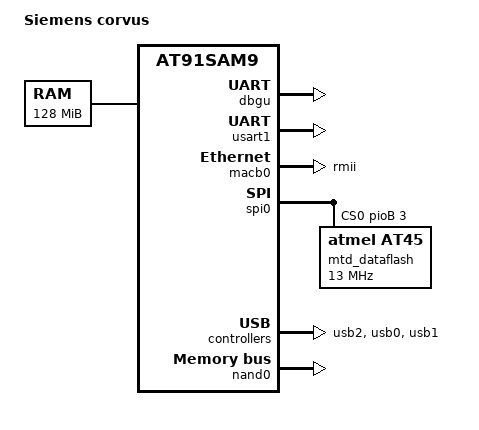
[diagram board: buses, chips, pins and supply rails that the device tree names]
// SPDX-License-Identifier: GPL-2.0+
/*
 * at91sam9g45-corvus.dts Device Tree file fir Siemens corvus board
 * (C) Copyright 2016 Heiko Schocher <hs@denx.de>
 *
 * based on:
 * at91sam9m10g45ek.dts - Device Tree file for AT91SAM9M10G45-EK board
 *
 *  Copyright (C) 2011 Atmel,
 *                2011 Nicolas Ferre <nicolas.ferre@atmel.com>
 */
/dts-v1/;
#include "at91sam9g45.dtsi"

/ {
	model = "Siemens corvus";
	compatible = "atmel,at91sam9m10g45ek", "atmel,at91sam9g45", "atmel,at91sam9";

	chosen {
		u-boot,dm-pre-reloc;
		stdout-path = &dbgu;
	};

	memory {
		reg = <0x70000000 0x8000000>;
	};

	clocks {
		slow_xtal {
		      clock-frequency = <32768>;
		};

		main_xtal {
		      clock-frequency = <12000000>;
		};
	};

	ahb {
		apb {
			dbgu: serial@ffffee00 {
				u-boot,dm-pre-reloc;
				status = "okay";
			};

			usart1: serial@fff90000 {
				pinctrl-0 =
					<&pinctrl_usart1
					 &pinctrl_usart1_rts
					 &pinctrl_usart1_cts>;
				status = "okay";
			};

			macb0: ethernet@fffbc000 {
				phy-mode = "rmii";
				status = "okay";
			};

			watchdog@fffffd40 {
				status = "okay";
			};

			spi0: spi@fffa4000{
				status = "okay";
				cs-gpios = <&pioB 3 0>, <0>, <0>, <0>;
				mtd_dataflash@0 {
					compatible = "atmel,at45", "atmel,dataflash";
					spi-max-frequency = <13000000>;
					reg = <0>;
				};
			};

			usb2: gadget@fff78000 {
				atmel,vbus-gpio = <&pioB 19 GPIO_ACTIVE_HIGH>;
				status = "okay";
			};

			rtc@fffffd20 {
				atmel,rtt-rtc-time-reg = <&gpbr 0x0>;
				status = "okay";
			};

			gpbr: syscon@fffffd60 {
				status = "okay";
			};

			rtc@fffffdb0 {
				status = "okay";
			};
		};

		nand0: nand@40000000 {
			nand-bus-width = <8>;
			nand-ecc-mode = "soft";
			nand-on-flash-bbt;
			status = "okay";
		};

		usb0: ohci@00700000 {
			status = "okay";
			num-ports = <2>;
			atmel,vbus-gpio = <&pioD 1 GPIO_ACTIVE_LOW
					   &pioD 3 GPIO_ACTIVE_LOW>;
		};

		usb1: ehci@00800000 {
			status = "okay";
		};
	};
};
